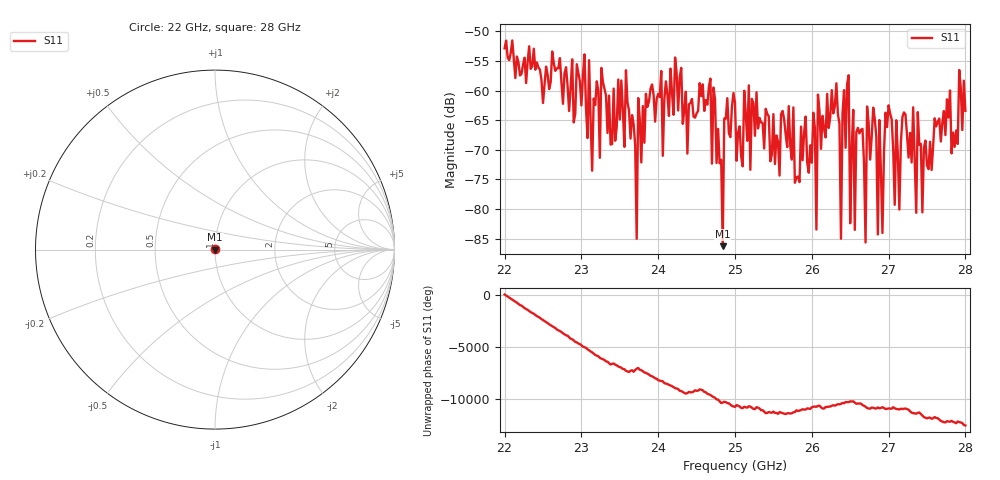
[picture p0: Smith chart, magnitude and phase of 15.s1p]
#  HZ  S  RI  R  50.00
! Rohde & Schwarz ZVA40 4Ports - Version 3.90 - 1145.1110k42 SN: 100403
! Date: 2023-10-04 09:34:37
! Measurement: S12
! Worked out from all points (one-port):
!   301 points, 22 GHz to 28 GHz, reference 50 ohm
!   lowest |S11| = -86.3 dB at 24.84 GHz (marker M1), VSWR 1.00, Z = 50 + j0.00435 ohm
!   |S11| at or under -10 dB: start of sweep to end of sweep
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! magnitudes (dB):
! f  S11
! 22 GHz  -52.9
! 22.76 GHz  -62.2
! 23.5 GHz  -64.9
! 23.72 GHz  -85.0
! 23.74 GHz  -61.3
! 24.26 GHz  -63.4
! 24.68 GHz  -58.0
! 24.84 GHz  -86.3
! 25 GHz  -62.0
! 25.76 GHz  -62.8
! 26.02 GHz  -63.7
! 26.06 GHz  -83.5
! 26.08 GHz  -60.7
! 26.32 GHz  -58.8
! 26.38 GHz  -85.0
! 26.48 GHz  -57.4
! 26.5 GHz  -82.4
! 26.54 GHz  -63.3
! 26.56 GHz  -83.5
! 26.7 GHz  -85.6
! 26.72 GHz  -62.7
! 26.86 GHz  -84.3
! 26.88 GHz  -65.0
! 26.92 GHz  -84.0
! 27 GHz  -62.5
! 27.08 GHz  -79.3
! 27.26 GHz  -71.3
! 28 GHz  -63.4
